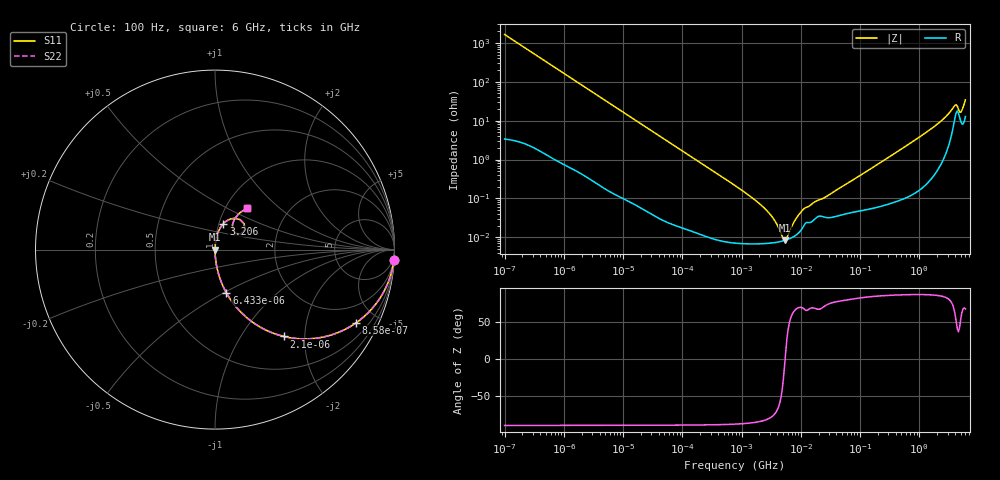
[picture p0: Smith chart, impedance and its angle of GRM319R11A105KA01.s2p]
!Murata Part Number: GRM319R11A105KA01
!These Parameters are Measured in Series Mode Connection
!Data Generated on Mar 30, 2021
!  o--ll--o
!Port1  Port2
!  o------o
!Operation Temp=25[degC], DC Bias Voltage=0[V]
!Freq. Start=100[Hz] Stop=6[GHz] 401[Steps]
# Hz S RI R 50
!Freq.(Hz) S11(Real) S11(Imag) S21(Real) S21(Imag) S12(Real) S12(Imag) S22(Real) S22(Imag)
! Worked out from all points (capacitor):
!   401 points, 100 Hz to 6 GHz, reference 50 ohm
!   read as one part in series: C = 967 nF near 109 Hz
!   lowest |Z| = 8.38 mohm at 5.312 MHz (marker M1)
!   series resonance near 5.424 MHz, so ESL is about 890 pH
!   S11 on the Smith chart (normalised r, x): 100 Hz: 1, -33; 858 Hz: 1.02, -3.86; 2.1 kHz: 1.01, -1.58; 6.433 kHz: 1.00, -0.52; 3.206 GHz: 1.05, +0.31; 6 GHz: 1.26, +0.64
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100  0.9962 -0.0605  0.0038 0.0605  0.0038 0.0605  0.9962 -0.0605
383  0.9481 -0.2199  0.0519 0.2199  0.0519 0.2199  0.9481 -0.2199
858  0.787 -0.4073  0.213 0.4073  0.213 0.4073  0.787 -0.4073
2008  0.4058 -0.4885  0.5942 0.4885  0.5942 0.4885  0.4058 -0.4885
2100  0.3846 -0.4839  0.6154 0.4839  0.6154 0.4839  0.3846 -0.4839
3594  0.1773 -0.3794  0.8227 0.3794  0.8227 0.3794  0.1773 -0.3794
6433  0.0639 -0.2418  0.9361 0.2418  0.9361 0.2418  0.0639 -0.2418
40335  0.00203 -0.0414  0.998 0.0414  0.998 0.0414  0.00203 -0.0414
774597  7.54e-05 -0.00214  0.9999 0.00214  0.9999 0.00214  7.54e-05 -0.00214
2594782  6.96e-05 -0.000504  0.9999 0.000504  0.9999 0.000504  6.96e-05 -0.000504
3394479  7.22e-05 -0.000304  0.9999 0.000304  0.9999 0.000304  7.22e-05 -0.000304
4643984  7.84e-05 -9.77e-05  0.9999 9.77e-05  0.9999 9.77e-05  7.84e-05 -9.77e-05
5311619  8.28e-05 -1.3e-05  0.9999 1.3e-05  0.9999 1.3e-05  8.28e-05 -1.3e-05
6075234  8.87e-05 7.18e-05  0.9999 -7.18e-05  0.9999 -7.18e-05  8.87e-05 7.18e-05
9941735  0.000149 0.000413  0.9999 -0.000413  0.9999 -0.000413  0.000149 0.000413
1.555665e7  0.000256 0.000685  0.9997 -0.000685  0.9997 -0.000685  0.000256 0.000685
3.124326e8  0.000861 0.0117  0.9991 -0.0117  0.9991 -0.0117  0.000861 0.0117
1.565993e9  0.00672 0.0602  0.9933 -0.0602  0.9933 -0.0602  0.00672 0.0602
3.205649e9  0.0473 0.1453  0.9527 -0.1453  0.9527 -0.1453  0.0473 0.1453
4.009986e9  0.1395 0.1672  0.8605 -0.1672  0.8605 -0.1672  0.1395 0.1672
5.016141e9  0.1 0.1097  0.9 -0.1097  0.9 -0.1097  0.1 0.1097
6e9  0.1796 0.2322  0.8204 -0.2322  0.8204 -0.2322  0.1796 0.2322
